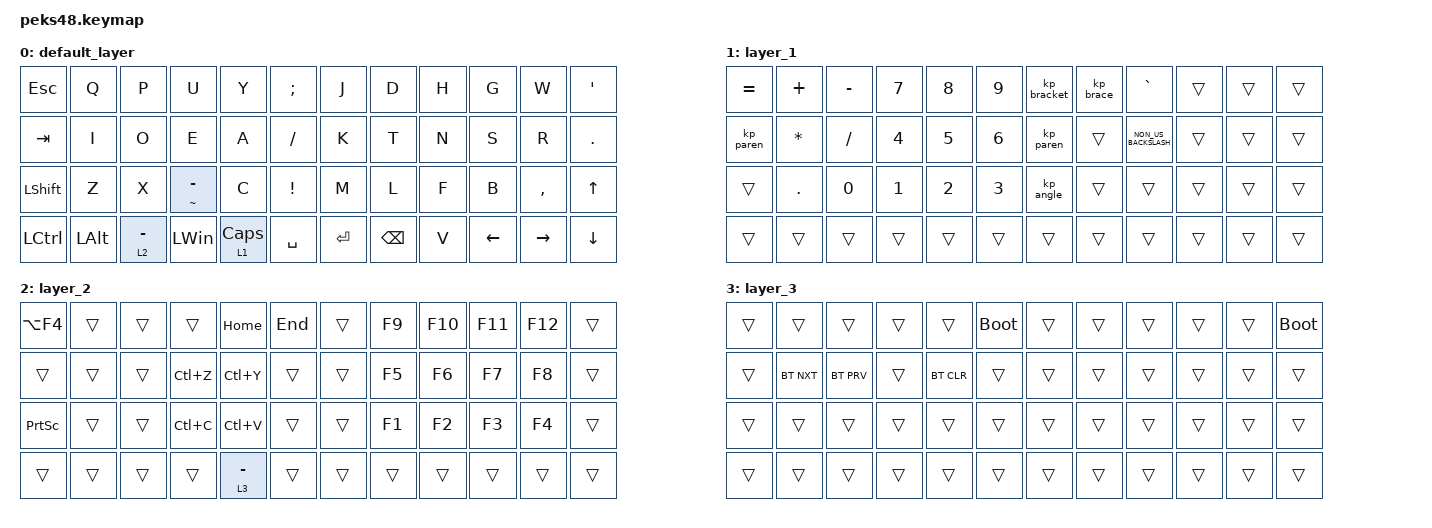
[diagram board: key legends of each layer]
#include <input/processors.dtsi>
#include <dt-bindings/zmk/input_transform.h>
#include <zephyr/dt-bindings/input/input-event-codes.h>
#include <behaviors.dtsi>
#include <dt-bindings/zmk/bt.h>
#include <dt-bindings/zmk/keys.h>

// Conversion definition for using Japanese keyboard with OS settings

#define JP_DQUOTE       AT                // "
#define JP_AMPERSAND    CARET             // &
#define JP_QUOTE        AMPERSAND         // '
#define JP_EQUAL        UNDER             // =
#define JP_CARET        EQUAL             // ^
#define JP_YEN          0x89              // ¥
#define JP_PLUS         COLON             // +
#define JP_TILDE        PLUS              // ~
#define JP_PIPE         LS(0x89)          // |
#define JP_AT           LEFT_BRACKET      // @
#define JP_COLON        SINGLE_QUOTE      // :
#define JP_ASTERISK     DOUBLE_QUOTES     // *
#define JP_BACKQUOTE    LEFT_BRACE        // `
#define JP_UNDERSCORE   LS(0x87)          // _
#define JP_LBRACKET     RIGHT_BRACKET     // [
#define JP_RBRACKET     BACKSLASH         // ]
#define JP_LPAREN       ASTERISK          // (
#define JP_RPAREN       LEFT_PARENTHESIS  // )
#define JP_LBRACE       RIGHT_BRACE       // {
#define JP_RBRACE       PIPE              // }
#define JP_KANA         LANGUAGE_1        // かな
#define JP_EISU         LANGUAGE_2        // 英数
#define JP_HANZEN       GRAVE             // 半角/全角

&mt {
    flavor = "balanced";
    quick-tap-ms = <0>;
};

/ {
    macros {
        kp_paren: kp_paren {
            compatible = "zmk,behavior-macro";
            #binding-cells = <0>;
            bindings = <&kp LEFT_PARENTHESIS &kp RIGHT_PARENTHESIS &kp LEFT_ARROW>;
            label = "KP_PAREN";
        };

        kp_bracket: kp_bracket {
            compatible = "zmk,behavior-macro";
            #binding-cells = <0>;
            bindings = <&kp LEFT_BRACKET &kp RIGHT_BRACKET &kp LEFT_ARROW>;
            label = "KP_BRACKET";
        };

        kp_brace: kp_brace {
            compatible = "zmk,behavior-macro";
            #binding-cells = <0>;
            bindings = <&kp LEFT_BRACE &kp RIGHT_BRACE &kp LEFT>;
            label = "KP_BRACE";
        };

        kp_angle: kp_angle {
            compatible = "zmk,behavior-macro";
            #binding-cells = <0>;
            bindings = <&kp LESS_THAN &kp GREATER_THAN &kp LEFT>;
            label = "KP_ANGLE";
        };
    };

    keymap {
        compatible = "zmk,keymap";

        default_layer {
            bindings = <
&kp ESC     &kp Q     &kp P        &kp U            &kp Y       &kp SEMICOLON      &kp J      &kp D          &kp H  &kp G           &kp W            &kp SQT
&kp TAB     &kp I     &kp O        &kp E            &kp A       &kp SLASH          &kp K      &kp T          &kp N  &kp S           &kp R            &kp PERIOD
&kp LSHIFT  &kp Z     &kp X        &mt TILDE MINUS  &kp C       &kp EXCLAMATION    &kp M      &kp L          &kp F  &kp B           &kp COMMA        &kp UP_ARROW
&kp LCTRL   &kp LALT  &lt 2 MINUS  &kp LEFT_WIN     &lt 1 CAPS  &kp SPACE          &kp ENTER  &kp BACKSPACE  &kp V  &kp LEFT_ARROW  &kp RIGHT_ARROW  &kp DOWN_ARROW
            >;
        };

        layer_1 {
            bindings = <
&kp EQUAL  &kp PLUS      &kp MINUS  &kp N7        &kp N8        &kp N9          &kp_bracket  &kp_brace  &kp GRAVE             &trans  &trans  &trans
&kp_paren  &kp ASTERISK  &kp SLASH  &kp NUMBER_4  &kp N5        &kp NUMBER_6    &kp_paren    &trans     &kp NON_US_BACKSLASH  &trans  &trans  &trans
&trans     &kp PERIOD    &kp N0     &kp NUMBER_1  &kp NUMBER_2  &kp NUMBER_3    &kp_angle    &trans     &trans                &trans  &trans  &trans
&trans     &trans        &trans     &trans        &trans        &trans          &trans       &trans     &trans                &trans  &trans  &trans
            >;
        };

        layer_2 {
            bindings = <
&kp LA(F4)       &trans  &trans  &trans     &kp HOME     &kp END    &trans  &kp F9  &kp F10  &kp F11  &kp F12  &trans
&trans           &trans  &trans  &kp LC(Z)  &kp LC(Y)    &trans     &trans  &kp F5  &kp F6   &kp F7   &kp F8   &trans
&kp PRINTSCREEN  &trans  &trans  &kp LC(C)  &kp LC(V)    &trans     &trans  &kp F1  &kp F2   &kp F3   &kp F4   &trans
&trans           &trans  &trans  &trans     &lt 3 MINUS  &trans     &trans  &trans  &trans   &trans   &trans   &trans
            >;
        };

        layer_3 {
            bindings = <
&trans  &trans      &trans      &trans  &trans      &bootloader    &trans  &trans  &trans  &trans  &trans  &bootloader
&trans  &bt BT_NXT  &bt BT_PRV  &trans  &bt BT_CLR  &trans         &trans  &trans  &trans  &trans  &trans  &trans
&trans  &trans      &trans      &trans  &trans      &trans         &trans  &trans  &trans  &trans  &trans  &trans
&trans  &trans      &trans      &trans  &trans      &trans         &trans  &trans  &trans  &trans  &trans  &trans
            >;
        };
    };
};
